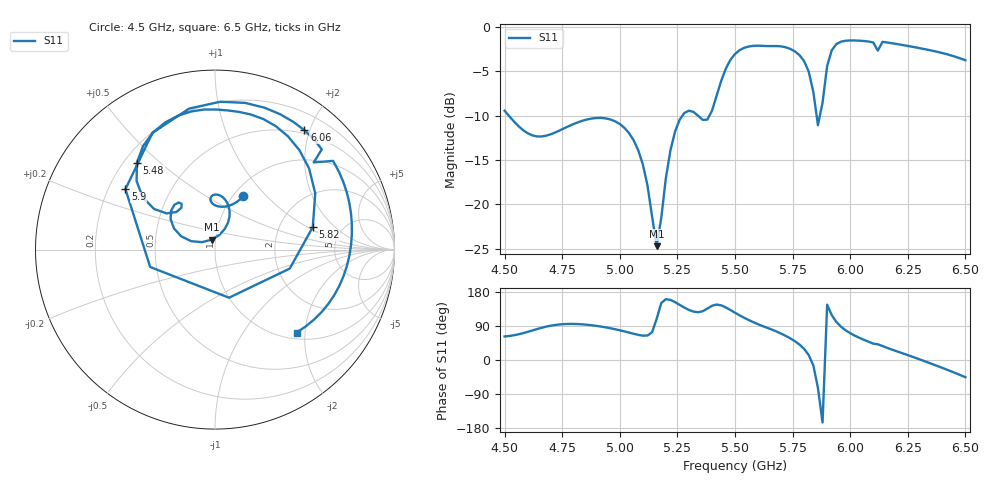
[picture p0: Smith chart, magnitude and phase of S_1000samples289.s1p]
! TOUCHSTONE file generated by CST MICROWAVE STUDIO
! Date and time: Thu Oct 27 15:45:17 2022
! Project name: L.cst
! Parameters = {Di=1.27; Epsilon_r=1.56; InnerDiameter=1.27; Length=2; Lf=10; Lg=60; OuterConductorThickness=0.2921; OuterDiameter=3.6; Wf=3; Wp=41.2; de=1.5; df=6.8; g=0.8; gx=1.76069; gy=2.05981; h=2.34; hf=1.524; px=14.4494; py=11.2557; w=9.7; wx=12.6887; wy=9.19589}
! Header version: 2018
! Port assignment regex: !\s*Touchstone port\s*([0-9]+)\s*=\s*(CST MWS port|CST DS port)\s*([0-9]+|Zmin|Zmax)\s*\(\"(.*)\"\)(\s*mode\s*([0-9]+))?.*
! Touchstone port assignment:
! Touchstone port 1 = CST MWS port 1 ("")
# GHz S DB R 50
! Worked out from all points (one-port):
!   101 points, 4.5 GHz to 6.5 GHz, reference 50 ohm
!   lowest |S11| = -24.7 dB at 5.16 GHz (marker M1), VSWR 1.12, Z = 47.9 + j5.3 ohm
!   |S11| at or under -10 dB: 4.518 GHz to 5.272 GHz (754.4 MHz wide, 15.4 % of centre); 5.339 GHz to 5.389 GHz (50.27 MHz wide, 0.937 % of centre); 5.854227 GHz to 5.868521 GHz (14.29 MHz wide, 0.244 % of centre)
!   S11 on the Smith chart (normalised r, x): 4.5 GHz: 1.11, +0.75; 5.48 GHz: 0.25, +0.42; 5.82 GHz: 3.08, +1.13; 5.9 GHz: 0.27, +0.29; 6.06 GHz: 0.44, +1.92; 6.5 GHz: 1.13, -1.81
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4.5  -9.45 62.1
4.62  -12.23 77.8
4.76  -11.42 94.8
5  -10.95 78.4
5.1  -15.51 64.2
5.16  -24.71 108.5
5.22  -13.88 158.6
5.26  -10.45 145.5
5.32  -9.59 127.7
5.38  -10.45 135.7
5.42  -7.79 146.3
5.48  -3.73 131.9
5.5  -3.06 124.8
5.62  -2.15 89.5
5.7  -2.21 69.7
5.76  -2.77 49.7
5.82  -5.05 13.0
5.84  -7.34 -14.2
5.86  -11.08 -73.8
5.88  -8.54 -165.0
5.9  -4.41 146.0
5.92  -2.64 118.2
5.94  -1.95 100.4
6  -1.54 70.8
6.06  -1.61 53.2
6.26  -2.20 10.7
6.38  -2.83 -16.2
6.5  -3.77 -45.5
